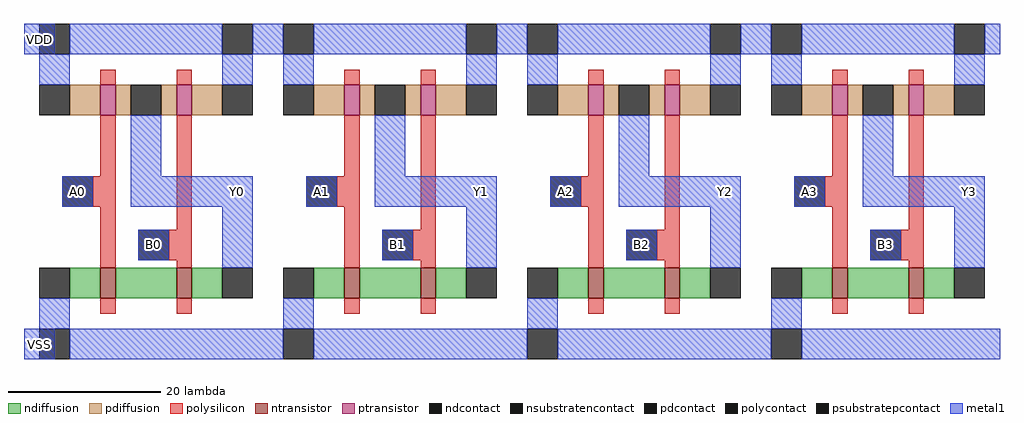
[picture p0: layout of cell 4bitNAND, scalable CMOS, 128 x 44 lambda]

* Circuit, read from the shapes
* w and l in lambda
.subckt 4bitNAND A0 A1 A2 A3 B0 B1 B2 B3 VDD VSS Y0 Y1 Y2 Y3
M1 n1 A0 VSS VSS nfet w=4 l=2
M2 Y0 B0 n1 VSS nfet w=4 l=2
M3 n2 A1 VSS VSS nfet w=4 l=2
M4 Y1 B1 n2 VSS nfet w=4 l=2
M5 n3 A2 VSS VSS nfet w=4 l=2
M6 Y2 B2 n3 VSS nfet w=4 l=2
M7 n4 A3 VSS VSS nfet w=4 l=2
M8 Y3 B3 n4 VSS nfet w=4 l=2
M9 Y0 A0 VDD VDD pfet w=4 l=2
M10 VDD B0 Y0 VDD pfet w=4 l=2
M11 Y1 A1 VDD VDD pfet w=4 l=2
M12 VDD B1 Y1 VDD pfet w=4 l=2
M13 Y2 A2 VDD VDD pfet w=4 l=2
M14 VDD B2 Y2 VDD pfet w=4 l=2
M15 Y3 A3 VDD VDD pfet w=4 l=2
M16 VDD B3 Y3 VDD pfet w=4 l=2
.ends

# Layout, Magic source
magic
tech scmos
<< metal1 >>
rect 0 40 4 44
rect 5 20 9 24
rect 26 20 30 24
rect 37 20 41 24
rect 58 20 62 24
rect 69 20 73 24
rect 90 20 94 24
rect 101 20 105 24
rect 122 20 126 24
rect 15 13 19 17
rect 47 13 51 17
rect 79 13 83 17
rect 111 13 115 17
rect 0 0 4 4
use 2NAND  2NAND_0
transform 1 0 0 0 1 0
box 0 0 32 44
use 2NAND  2NAND_1
transform 1 0 32 0 1 0
box 0 0 32 44
use 2NAND  2NAND_2
transform 1 0 64 0 1 0
box 0 0 32 44
use 2NAND  2NAND_3
transform 1 0 96 0 1 0
box 0 0 32 44
<< labels >>
rlabel metal1 7 22 7 22 1 A0
rlabel metal1 17 15 17 15 1 B0
rlabel metal1 39 22 39 22 1 A1
rlabel metal1 49 15 49 15 1 B1
rlabel metal1 71 22 71 22 1 A2
rlabel metal1 81 15 81 15 1 B2
rlabel metal1 92 22 92 22 1 Y2
rlabel metal1 103 22 103 22 1 A3
rlabel metal1 113 15 113 15 1 B3
rlabel metal1 124 22 124 22 7 Y3
rlabel metal1 2 42 2 42 4 VDD
rlabel metal1 2 2 2 2 2 VSS
rlabel metal1 28 22 28 22 1 Y0
rlabel metal1 60 22 60 22 1 Y1
<< end >>

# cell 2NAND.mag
magic
tech scmos
<< ntransistor >>
rect 10 8 12 12
rect 20 8 22 12
<< ptransistor >>
rect 10 32 12 36
rect 20 32 22 36
<< ndiffusion >>
rect 6 8 10 12
rect 12 8 20 12
rect 22 8 26 12
<< pdiffusion >>
rect 6 32 10 36
rect 12 32 14 36
rect 18 32 20 36
rect 22 32 26 36
<< ndcontact >>
rect 2 8 6 12
rect 26 8 30 12
<< pdcontact >>
rect 2 32 6 36
rect 14 32 18 36
rect 26 32 30 36
<< psubstratepcontact >>
rect 2 0 6 4
<< nsubstratencontact >>
rect 2 40 6 44
rect 26 40 30 44
<< polysilicon >>
rect 10 36 12 38
rect 20 36 22 38
rect 10 24 12 32
rect 9 20 12 24
rect 10 12 12 20
rect 20 17 22 32
rect 19 13 22 17
rect 20 12 22 13
rect 10 6 12 8
rect 20 6 22 8
<< polycontact >>
rect 5 20 9 24
rect 15 13 19 17
<< metal1 >>
rect 0 40 2 44
rect 6 40 26 44
rect 30 40 32 44
rect 2 36 6 40
rect 26 36 30 40
rect 14 24 18 32
rect 14 20 30 24
rect 26 12 30 20
rect 2 4 6 8
rect 0 0 2 4
rect 6 0 32 4
<< labels >>
rlabel psubstratepcontact 4 2 4 2 1 VSS
rlabel nsubstratencontact 4 42 4 42 5 VDD
rlabel nsubstratencontact 28 42 28 42 5 VDD
rlabel polycontact 7 22 7 22 1 A
rlabel polycontact 17 15 17 15 1 B
rlabel metal1 28 22 28 22 1 Y
<< end >>
